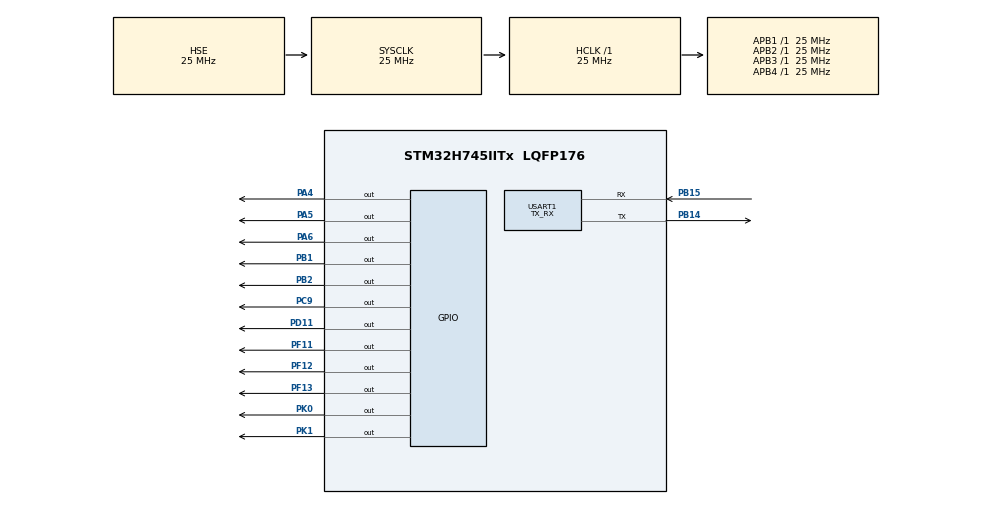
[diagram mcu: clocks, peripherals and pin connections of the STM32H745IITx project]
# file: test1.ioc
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CORTEX_M7.default_mode_Activation=1
CortexM4.IPs=CORTEX_M4\:I,FATFS_M4\:I,FREERTOS_M4\:I,IWDG2\:I,OPENAMP_M4\:I,PDM2PCM_M4\:I,PWR,RCC,RESMGR_UTILITY,SYS_M4\:I,USB_DEVICE_M4\:I,USB_HOST_M4\:I,VREFBUF,WWDG2\:I,GPIO,DMA,BDMA,MDMA,NVIC2\:I
CortexM7.IPs=CORTEX_M7\:I,FATFS_M7\:I,FREERTOS_M7\:I,IWDG1\:I,OPENAMP_M7\:I,PDM2PCM_M7\:I,PWR\:I,RCC\:I,RESMGR_UTILITY\:I,SYS\:I,USB_DEVICE_M7\:I,USB_HOST_M7\:I,VREFBUF\:I,WWDG1\:I,GPIO\:I,DMA\:I,BDMA\:I,MDMA\:I,NVIC1\:I,USART1\:I,TIM1\:I,TIM3\:I
CortexM7.Pins=PA4,PA5,PA6,PB1,PB2,PF11,PF12,PF13,PD11,PK0,PK1,PC9
Mcu.Family=STM32H7
Mcu.Name=STM32H745IITx
Mcu.Package=LQFP176
NVIC1.PriorityGroup=NVIC_PRIORITYGROUP_4
NVIC1.TIM1_UP_IRQn=true\:0\:0\:false\:false\:true\:true\:true\:true
NVIC1.TIM3_IRQn=true\:0\:0\:false\:false\:true\:true\:true\:true
NVIC1.USART1_IRQn=true\:0\:0\:false\:false\:true\:true\:true\:true
NVIC2.PriorityGroup=NVIC_PRIORITYGROUP_4
PA4.PinAttribute=CortexM7
PA4.Signal=GPIO_Output
PA5.PinAttribute=CortexM7
PA5.Signal=GPIO_Output
PA6.PinAttribute=CortexM7
PA6.Signal=GPIO_Output
PB1.PinAttribute=CortexM7
PB1.Signal=GPIO_Output
PB14.Mode=Asynchronous
PB14.PinAttribute=CortexM7
PB14.Signal=USART1_TX
PB15.Mode=Asynchronous
PB15.PinAttribute=CortexM7
PB15.Signal=USART1_RX
PB2.PinAttribute=CortexM7
PB2.Signal=GPIO_Output
PC9.PinAttribute=CortexM7
PC9.Signal=GPIO_Output
PD11.PinAttribute=CortexM7
PD11.Signal=GPIO_Output
PF11.PinAttribute=CortexM7
PF11.Signal=GPIO_Output
PF12.PinAttribute=CortexM7
PF12.Signal=GPIO_Output
PF13.PinAttribute=CortexM7
PF13.Signal=GPIO_Output
PH0-OSC_IN\ (PH0).Mode=HSE-External-Oscillator
PH0-OSC_IN\ (PH0).PinAttribute=Free
PH0-OSC_IN\ (PH0).Signal=RCC_OSC_IN
PH1-OSC_OUT\ (PH1).Mode=HSE-External-Oscillator
PH1-OSC_OUT\ (PH1).PinAttribute=Free
PH1-OSC_OUT\ (PH1).Signal=RCC_OSC_OUT
PK0.PinAttribute=CortexM7
PK0.Signal=GPIO_Output
PK1.PinAttribute=CortexM7
PK1.Signal=GPIO_Output
ProjectManager.HeapSize=M4-0x200,M7-0x200
ProjectManager.StackSize=M4-0x400,M7-0x400
ProjectManager.TargetToolchain=EWARM V8.50
RCC.ADCFreq_Value=50390625
RCC.APB1Freq_Value=25000000
RCC.APB2Freq_Value=25000000
RCC.APB3Freq_Value=25000000
RCC.APB4Freq_Value=25000000
RCC.CortexFreq_Value=25000000
RCC.HCLKFreq_Value=25000000
RCC.PLLSourceVirtual=RCC_PLLSOURCE_HSE
RCC.SYSCLKFreq_VALUE=25000000
RCC.SYSCLKSource=RCC_SYSCLKSOURCE_HSE
RCC.SupplySource=PWR_LDO_SUPPLY
RCC.USBFreq_Value=50390625
SYS.userName=SYS_M7
TIM1.Prescaler=4
TIM3.Period=99
TIM3.Prescaler=24
USART1.Mode=MODE_TX_RX
USART1.OneBitSampling=UART_ONE_BIT_SAMPLE_DISABLE
USART1.VirtualMode-Asynchronous=VM_ASYNC
VP_SYS_M4_VS_Systick.Mode=SysTick
VP_TIM1_VS_ClockSourceINT.Mode=Internal
VP_TIM1_VS_OPM.Mode=OPM_bit
VP_TIM3_VS_ClockSourceINT.Mode=Internal
board=custom

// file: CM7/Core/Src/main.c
/* USER CODE BEGIN Header */
/**
  ******************************************************************************
  * @file           : main.c
  * @brief          : Main program body
  ******************************************************************************
  * @attention
  *
  * Copyright (c) 2026 STMicroelectronics.
  * All rights reserved.
  *
  * This software is licensed under terms that can be found in the LICENSE file
  * in the root directory of this software component.
  * If no LICENSE file comes with this software, it is provided AS-IS.
  *
  ******************************************************************************
  */
/* USER CODE END Header */
#include "main.h"

/* USER CODE BEGIN Includes */
#include "Modbus_RTU_my.h"
/* USER CODE END Includes */

/* USER CODE BEGIN PD */

#define RECEIVE_TIMEOUT         8999 // 5000(4999 ARR) ticks at 25/25 MHz = 0,001 sec.
#define MODBUS_DEVICE_ID        0x01

/* DUAL_CORE_BOOT_SYNC_SEQUENCE: Define for dual core boot synchronization    */
/*                             demonstration code based on hardware semaphore */
/* This define is present in both CM7/CM4 projects                            */
/* To comment when developping/debugging on a single core                     */
#define DUAL_CORE_BOOT_SYNC_SEQUENCE

#if defined(DUAL_CORE_BOOT_SYNC_SEQUENCE)
#ifndef HSEM_ID_0
#define HSEM_ID_0 (0U) /* HW semaphore 0*/
#endif
#endif /* DUAL_CORE_BOOT_SYNC_SEQUENCE */

/* USER CODE END PD */

/* USER CODE BEGIN PM */
#define HAL_TIMEOUT_VALUE 0xFFFFFFFF
#define countof(a) (sizeof(a) / sizeof(*(a)))

volatile uint8_t ticks_timer;
/* USER CODE END PM */

TIM_HandleTypeDef htim1;
TIM_HandleTypeDef htim3;

UART_HandleTypeDef huart1;

/* USER CODE BEGIN PV */
ModbusRTU_Handle_t hmodbus1;

uint8_t new_uart_message = 0;

uint8_t test_response[16]  = {0x01, 0x03, 0x02, 0x00, 0x19, 0x79, 0x8E};
uint8_t rx_temp;
uint8_t uart_buffer[256];
uint16_t uart_index = 0;

ModbusRTU_Package_t received;

uint8_t enabled_leds[8] = {0,0,0,0,0,0,0,0};
uint8_t leds_mode[8]    = {0,0,0,0,0,0,0,0};

uint16_t brightness[8] = {100, 100, 100, 100, 100, 100, 100, 100};
uint16_t intervals[8]  = {1000,1000,1000,1000,1000,1000,1000,1000};

uint8_t pwm_counter = 0;
uint32_t blink_counter = 0;

uint8_t current_brightness = 100;

uint16_t LED_PIN[8] = {GPIO_PIN_4, GPIO_PIN_5, GPIO_PIN_6, GPIO_PIN_1, GPIO_PIN_2, GPIO_PIN_11, GPIO_PIN_12, GPIO_PIN_13};
GPIO_TypeDef* LED_PORT[8] = {GPIOA, GPIOA, GPIOA, GPIOB, GPIOB, GPIOF, GPIOF, GPIOF};
/* USER CODE END PV */

void SystemClock_Config(void);
static void MPU_Config(void);
static void MX_GPIO_Init(void);
static void MX_USART1_UART_Init(void);
static void MX_TIM1_Init(void);
static void MX_TIM3_Init(void);
/* USER CODE BEGIN PFP */
void Modbus_Init(void);
/* USER CODE END PFP */

/* USER CODE BEGIN 0 */
void HAL_UART_ErrorCallback(UART_HandleTypeDef *huart) {
    char msg[64];
    uint32_t err = huart->ErrorCode;

    if (huart->Instance == USART1) {
        if (err & HAL_UART_ERROR_ORE) {
            HAL_GPIO_WritePin(GPIOD, GPIO_PIN_11, GPIO_PIN_SET);
            HAL_UART_Transmit(huart, (uint8_t*)"Err: Overrun (ORE)\r\n", 20, 100);
            HAL_GPIO_WritePin(GPIOD, GPIO_PIN_11, GPIO_PIN_RESET);

            __HAL_UART_CLEAR_OREFLAG(huart);
        }
        if (err & HAL_UART_ERROR_NE) {
            HAL_GPIO_WritePin(GPIOD, GPIO_PIN_11, GPIO_PIN_SET);
            HAL_UART_Transmit(huart, (uint8_t*)"Err: Noise (NE)\r\n", 17, 100);
            HAL_GPIO_WritePin(GPIOD, GPIO_PIN_11, GPIO_PIN_RESET);

            __HAL_UART_CLEAR_NEFLAG(huart);
        }
        if (err & HAL_UART_ERROR_FE) {
            HAL_GPIO_WritePin(GPIOD, GPIO_PIN_11, GPIO_PIN_SET);
            HAL_UART_Transmit(huart, (uint8_t*)"Err: Framing (FE)\r\n", 19, 100);
            HAL_GPIO_WritePin(GPIOD, GPIO_PIN_11, GPIO_PIN_RESET);

            __HAL_UART_CLEAR_FEFLAG(huart);
        }
        if (err & HAL_UART_ERROR_PE) {
            HAL_GPIO_WritePin(GPIOD, GPIO_PIN_11, GPIO_PIN_SET);
            HAL_UART_Transmit(huart, (uint8_t*)"Err: Parity (PE)\r\n", 18, 100);
            HAL_GPIO_WritePin(GPIOD, GPIO_PIN_11, GPIO_PIN_RESET);

            __HAL_UART_CLEAR_PEFLAG(huart);
        }
    }
}

void UartTimer_Prolong() {

    __HAL_TIM_SET_AUTORELOAD(&htim1, RECEIVE_TIMEOUT);

    __HAL_TIM_SET_COUNTER(&htim1, 0);

    __HAL_TIM_CLEAR_IT(&htim1, TIM_IT_UPDATE);

    SET_BIT(htim1.Instance->DIER, TIM_DIER_UIE);

    SET_BIT(htim1.Instance->CR1, TIM_CR1_CEN);
}

void Uart_Read_byte() {
  // Should I put uart byte recieved interruption code here?
}

void HAL_UART_RxCpltCallback(UART_HandleTypeDef *huart) {
    if (huart->Instance == USART1) {

        UartTimer_Prolong();

        uart_buffer[uart_index++] = rx_temp;

        HAL_UART_Receive_IT(huart, &rx_temp, 1);

        HAL_GPIO_WritePin(GPIOK, GPIO_PIN_1, GPIO_PIN_SET);
    }
}

/**
  * @brief  Is called every cycle in main while(1)
  * @retval none
  */
void On_Transmittion_End() {
  if (new_uart_message == 0) return;
  new_uart_message = 0;

  if (process_Request(&hmodbus1) == PROCESS_OK) {

        uint8_t out_len;
        uint8_t* output_buffer = get_Output(&hmodbus1, &out_len);

        HAL_GPIO_WritePin(GPIOD, GPIO_PIN_11, GPIO_PIN_SET);

      for(volatile int i=0; i<500; i++);
      //HAL_UART_Transmit(&huart1, uart_buffer, uart_index, 100); // debug echo in uart
      HAL_UART_Transmit(&huart1, output_buffer, out_len, 100);
      //HAL_UART_Transmit(&huart1, test_response, 7, 100);

      while (__HAL_UART_GET_FLAG(&huart1, UART_FLAG_TC) == RESET);

      HAL_GPIO_WritePin(GPIOD, GPIO_PIN_11, GPIO_PIN_RESET);

      } else {
        // ?
      }

      uart_index = 0;

      HAL_GPIO_WritePin(GPIOK, GPIO_PIN_1, GPIO_PIN_RESET);
      HAL_GPIO_WritePin(GPIOK, GPIO_PIN_0, GPIO_PIN_SET);
}

/**
  * @brief  Is called every cycle in main while(1)
  * @retval none
  */
void LEDs_Update() {

      for (int i = 0; i < 8; i++) {
        if (enabled_leds[i] == 0) {
          LED_PORT[i]->BSRR = (uint32_t)LED_PIN[i] << 16;
          continue;
        }

        if (leds_mode[i] == 1) {
          if (intervals[i] > ((blink_counter/10) % (2 * intervals[i]))) {
            LED_PORT[i]->BSRR = (uint32_t)LED_PIN[i] << 16;
            continue;
          }
        }

        if (leds_mode[i] == 2) {
          current_brightness = ((blink_counter/10) % intervals[i]) * 200 / intervals[i];
          if (current_brightness > 100) current_brightness = 200 - current_brightness;
        }
        else {
          current_brightness = brightness[i];
        }

        if (pwm_counter < current_brightness) {
          LED_PORT[i]->BSRR = LED_PIN[i];
        } else {
          LED_PORT[i]->BSRR = (uint32_t)LED_PIN[i] << 16;
        }
      }
}

void HAL_TIM_PeriodElapsedCallback(TIM_HandleTypeDef *htim) {
    if (htim->Instance == TIM1) {
      load_uart_message(&hmodbus1, uart_buffer, uart_index);
      new_uart_message = 1;
    }

    if (htim->Instance == TIM3) {
      pwm_counter++;
      blink_counter++;
      if (pwm_counter > 100) pwm_counter = 0;
    }
}

uint8_t registers_Mapping_Read(uint16_t addr, uint16_t* val, uint8_t mode) {
  switch(mode) {
  case READ_MODE_COILS: // 0x01

    // Example of switch-case mapping:
    /*
    switch(addr) {
    case 0x0000:
      *val = HAL_GPIO_ReadPin(GPIOA, GPIO_PIN_4);
      return 0;
    case 0x0001:
      *val = HAL_GPIO_ReadPin(GPIOA, GPIO_PIN_5);
      return 0;
    case 0x0002:
      *val = HAL_GPIO_ReadPin(GPIOA, GPIO_PIN_6);
      return 0;
    case 0x0003:
      *val = HAL_GPIO_ReadPin(GPIOB, GPIO_PIN_1);
      return 0;
    case 0x0004:
      *val = HAL_GPIO_ReadPin(GPIOB, GPIO_PIN_2);
      return 0;
    case 0x0005:
      *val = HAL_GPIO_ReadPin(GPIOF, GPIO_PIN_11);
      return 0;
    case 0x0006:
      *val = HAL_GPIO_ReadPin(GPIOF, GPIO_PIN_12);
      return 0;
    case 0x0007:
      *val = HAL_GPIO_ReadPin(GPIOF, GPIO_PIN_13);
      return 0;
    */

      // Array mapping:
      if (addr >= 0x0000 && addr <= 0x0007) {
        *val = enabled_leds[addr];
        return 0;
      }
      return 2;

  case READ_MODE_DISCRETE_INP: // 0x02
    switch(addr) {
    case 0x0000:
      *val = GPIO_PIN_SET; // Testing input
      return 0;
    default:
      return 2;
    }

  case READ_MODE_HOLDING_REGS: // 0x03
    if (addr >= 0x0000 && addr <= 0x0007) {
        *val = brightness[addr];
        return 0;
      }
      if (addr >= 0x0010 && addr <= 0x0017) {
        *val = intervals[addr-16];
        return 0;
      }
      if (addr >= 0x0020 && addr <= 0x0027) {
        *val = leds_mode[addr-32];
        return 0;
      }
      return 2;

  case READ_MODE_INPUT_REGS: // 0x04
    switch(addr) {
    case 0x0000:
      *val = 12345; // Also testing
      return 0;
    case 0x0001:
      *val = 54321;
      return 0;
    default: return 2;
    }
  }
  return 5;
}

uint8_t registers_Mapping_Write(uint16_t addr, uint16_t val, uint8_t mode) {
  switch(mode) {
  case WRITE_MODE_SINGLE_COIL: // 0x05

    /*
    if (val != 0xFF00 && val != 0x0000) return 3;
    switch(addr) {
    case 0x0000:
      HAL_GPIO_WritePin(GPIOA, GPIO_PIN_4, val == 0xFF00 ? GPIO_PIN_SET : GPIO_PIN_RESET);
      return 0;
    case 0x0001:
      HAL_GPIO_WritePin(GPIOA, GPIO_PIN_5, val == 0xFF00 ? GPIO_PIN_SET : GPIO_PIN_RESET);
      return 0;
    case 0x0002:
      HAL_GPIO_WritePin(GPIOA, GPIO_PIN_6, val == 0xFF00 ? GPIO_PIN_SET : GPIO_PIN_RESET);
      return 0;
    case 0x0003:
      HAL_GPIO_WritePin(GPIOB, GPIO_PIN_1, val == 0xFF00 ? GPIO_PIN_SET : GPIO_PIN_RESET);
      return 0;
    case 0x0004:
      HAL_GPIO_WritePin(GPIOB, GPIO_PIN_2, val == 0xFF00 ? GPIO_PIN_SET : GPIO_PIN_RESET);
      return 0;
    case 0x0005:
      HAL_GPIO_WritePin(GPIOF, GPIO_PIN_11, val == 0xFF00 ? GPIO_PIN_SET : GPIO_PIN_RESET);
      return 0;
    case 0x0006:
      HAL_GPIO_WritePin(GPIOF, GPIO_PIN_12, val == 0xFF00 ? GPIO_PIN_SET : GPIO_PIN_RESET);
      return 0;
    case 0x0007:
      HAL_GPIO_WritePin(GPIOF, GPIO_PIN_13, val == 0xFF00 ? GPIO_PIN_SET : GPIO_PIN_RESET);
      return 0;
    default: return 2;
  }
  */
    if (addr >= 0x0000 && addr <= 0x0007) {
        enabled_leds[addr] = val == 0xFF00;
        return 0;
      }
      return 2;

  case WRITE_MODE_SINGLE_REG: // 0x06
    if (addr >= 0x0000 && addr <= 0x0007) {
        if (val > 100) return 3;
        brightness[addr] = val;
        return 0;
      }
      if (addr >= 0x0010 && addr <= 0x0017) {
        if (val > 5000) return 3;
        intervals[addr-16] = val;
        return 0;
      }
      if (addr >= 0x0020 && addr <= 0x0027) {
        leds_mode[addr-32] = val;
        return 0;
      }
      return 2;

  case WRITE_MODE_MULT_COILS: // 0x0f
    // Actually, I don`t need those two. Multiple or single write is processed in
    // library, in case of multiple write it`ll just call single write multiple times.
    break;

  case WRITE_MODE_MULT_REGS: // 0x10

    break;
  }

  return 5;
}

/* USER CODE END 0 */

int main(void)
{

/* USER CODE BEGIN Boot_Mode_Sequence_0 */
#if defined(DUAL_CORE_BOOT_SYNC_SEQUENCE)
  int32_t timeout;
#endif /* DUAL_CORE_BOOT_SYNC_SEQUENCE */
/* USER CODE END Boot_Mode_Sequence_0 */

  /* MPU Configuration--------------------------------------------------------*/
  MPU_Config();

/* USER CODE BEGIN Boot_Mode_Sequence_1 */
#if defined(DUAL_CORE_BOOT_SYNC_SEQUENCE)
  /* Wait until CPU2 boots and enters in stop mode or timeout*/
  timeout = 0xFFFF;
  //while((__HAL_RCC_GET_FLAG(RCC_FLAG_D2CKRDY) != RESET) && (timeout-- > 0));
  //if ( timeout < 0 )
  //{
  //Error_Handler();
  //}
#endif /* DUAL_CORE_BOOT_SYNC_SEQUENCE */
/* USER CODE END Boot_Mode_Sequence_1 */
  /* MCU Configuration--------------------------------------------------------*/

  /* Reset of all peripherals, Initializes the Flash interface and the Systick. */
  HAL_Init();

  /* USER CODE BEGIN Init */
  Modbus_Init();
  /* USER CODE END Init */

  /* Configure the system clock */
  SystemClock_Config();
/* USER CODE BEGIN Boot_Mode_Sequence_2 */
#if defined(DUAL_CORE_BOOT_SYNC_SEQUENCE)
/* When system initialization is finished, Cortex-M7 will release Cortex-M4 by means of
HSEM notification */
/*HW semaphore Clock enable*/
__HAL_RCC_HSEM_CLK_ENABLE();
/*Take HSEM */
HAL_HSEM_FastTake(HSEM_ID_0);
/*Release HSEM in order to notify the CPU2(CM4)*/
HAL_HSEM_Release(HSEM_ID_0,0);
/* wait until CPU2 wakes up from stop mode */
timeout = 0xFFFF;
//while((__HAL_RCC_GET_FLAG(RCC_FLAG_D2CKRDY) == RESET) && (timeout-- > 0));
//if ( timeout < 0 )
//{
//Error_Handler();
//}
#endif /* DUAL_CORE_BOOT_SYNC_SEQUENCE */
/* USER CODE END Boot_Mode_Sequence_2 */

  /* USER CODE BEGIN SysInit */
  HAL_GPIO_WritePin(GPIOK, GPIO_PIN_0, GPIO_PIN_RESET);
  HAL_GPIO_WritePin(GPIOK, GPIO_PIN_1, GPIO_PIN_RESET);
  /* USER CODE END SysInit */

  /* Initialize all configured peripherals */
  MX_GPIO_Init();
  MX_USART1_UART_Init();
  MX_TIM1_Init();
  MX_TIM3_Init();
  /* USER CODE BEGIN 2 */
  HAL_TIM_Base_Start_IT(&htim3);

  HAL_GPIO_WritePin(GPIOD, GPIO_PIN_11, GPIO_PIN_RESET);
  HAL_GPIO_WritePin(GPIOA, GPIO_PIN_4, GPIO_PIN_SET);
  HAL_UART_Receive_IT(&huart1, &rx_temp, 1);
  /* USER CODE END 2 */

  /* Infinite loop */
  /* USER CODE BEGIN WHILE */
  while (1)
  {
    HAL_GPIO_TogglePin(GPIOC, GPIO_PIN_9);
    On_Transmittion_End();
    LEDs_Update();

    /* USER CODE END WHILE */

  }
}

void SystemClock_Config(void)
{
  RCC_OscInitTypeDef RCC_OscInitStruct = {0};
  RCC_ClkInitTypeDef RCC_ClkInitStruct = {0};

  /** Supply configuration update enable
  */
  HAL_PWREx_ConfigSupply(PWR_LDO_SUPPLY);

  /** Configure the main internal regulator output voltage
  */
  __HAL_PWR_VOLTAGESCALING_CONFIG(PWR_REGULATOR_VOLTAGE_SCALE3);

  while(!__HAL_PWR_GET_FLAG(PWR_FLAG_VOSRDY)) {}

  /** Initializes the RCC Oscillators according to the specified parameters
  * in the RCC_OscInitTypeDef structure.
  */
  RCC_OscInitStruct.OscillatorType = RCC_OSCILLATORTYPE_HSE;
  RCC_OscInitStruct.HSEState = RCC_HSE_ON;
  RCC_OscInitStruct.PLL.PLLState = RCC_PLL_NONE;
  if (HAL_RCC_OscConfig(&RCC_OscInitStruct) != HAL_OK)
  {
    Error_Handler();
  }

  /** Initializes the CPU, AHB and APB buses clocks
  */
  RCC_ClkInitStruct.ClockType = RCC_CLOCKTYPE_HCLK|RCC_CLOCKTYPE_SYSCLK
                              |RCC_CLOCKTYPE_PCLK1|RCC_CLOCKTYPE_PCLK2
                              |RCC_CLOCKTYPE_D3PCLK1|RCC_CLOCKTYPE_D1PCLK1;
  RCC_ClkInitStruct.SYSCLKSource = RCC_SYSCLKSOURCE_HSE;
  RCC_ClkInitStruct.SYSCLKDivider = RCC_SYSCLK_DIV1;
  RCC_ClkInitStruct.AHBCLKDivider = RCC_HCLK_DIV1;
  RCC_ClkInitStruct.APB3CLKDivider = RCC_APB3_DIV1;
  RCC_ClkInitStruct.APB1CLKDivider = RCC_APB1_DIV1;
  RCC_ClkInitStruct.APB2CLKDivider = RCC_APB2_DIV1;
  RCC_ClkInitStruct.APB4CLKDivider = RCC_APB4_DIV1;

  if (HAL_RCC_ClockConfig(&RCC_ClkInitStruct, FLASH_LATENCY_0) != HAL_OK)
  {
    Error_Handler();
  }
}

static void MX_TIM1_Init(void)
{

  TIM_ClockConfigTypeDef sClockSourceConfig = {0};
  TIM_MasterConfigTypeDef sMasterConfig = {0};

  htim1.Instance = TIM1;
  htim1.Init.Prescaler = 4;
  htim1.Init.CounterMode = TIM_COUNTERMODE_UP;
  htim1.Init.Period = 65535;
  htim1.Init.ClockDivision = TIM_CLOCKDIVISION_DIV1;
  htim1.Init.RepetitionCounter = 0;
  htim1.Init.AutoReloadPreload = TIM_AUTORELOAD_PRELOAD_DISABLE;
  if (HAL_TIM_Base_Init(&htim1) != HAL_OK)
  {
    Error_Handler();
  }
  sClockSourceConfig.ClockSource = TIM_CLOCKSOURCE_INTERNAL;
  if (HAL_TIM_ConfigClockSource(&htim1, &sClockSourceConfig) != HAL_OK)
  {
    Error_Handler();
  }
  if (HAL_TIM_OnePulse_Init(&htim1, TIM_OPMODE_SINGLE) != HAL_OK)
  {
    Error_Handler();
  }
  sMasterConfig.MasterOutputTrigger = TIM_TRGO_RESET;
  sMasterConfig.MasterOutputTrigger2 = TIM_TRGO2_RESET;
  sMasterConfig.MasterSlaveMode = TIM_MASTERSLAVEMODE_DISABLE;
  if (HAL_TIMEx_MasterConfigSynchronization(&htim1, &sMasterConfig) != HAL_OK)
  {
    Error_Handler();
  }

}

static void MX_TIM3_Init(void)
{

  TIM_ClockConfigTypeDef sClockSourceConfig = {0};
  TIM_MasterConfigTypeDef sMasterConfig = {0};

  htim3.Instance = TIM3;
  htim3.Init.Prescaler = 24;
  htim3.Init.CounterMode = TIM_COUNTERMODE_UP;
  htim3.Init.Period = 99;
  htim3.Init.ClockDivision = TIM_CLOCKDIVISION_DIV1;
  htim3.Init.AutoReloadPreload = TIM_AUTORELOAD_PRELOAD_DISABLE;
  if (HAL_TIM_Base_Init(&htim3) != HAL_OK)
  {
    Error_Handler();
  }
  sClockSourceConfig.ClockSource = TIM_CLOCKSOURCE_INTERNAL;
  if (HAL_TIM_ConfigClockSource(&htim3, &sClockSourceConfig) != HAL_OK)
  {
    Error_Handler();
  }
  sMasterConfig.MasterOutputTrigger = TIM_TRGO_RESET;
  sMasterConfig.MasterSlaveMode = TIM_MASTERSLAVEMODE_DISABLE;
  if (HAL_TIMEx_MasterConfigSynchronization(&htim3, &sMasterConfig) != HAL_OK)
  {
    Error_Handler();
  }

}

static void MX_USART1_UART_Init(void)
{

  huart1.Instance = USART1;
  huart1.Init.BaudRate = 115200;
  huart1.Init.WordLength = UART_WORDLENGTH_8B;
  huart1.Init.StopBits = UART_STOPBITS_1;
  huart1.Init.Parity = UART_PARITY_NONE;
  huart1.Init.Mode = UART_MODE_TX_RX;
  huart1.Init.HwFlowCtl = UART_HWCONTROL_NONE;
  huart1.Init.OverSampling = UART_OVERSAMPLING_16;
  huart1.Init.OneBitSampling = UART_ONE_BIT_SAMPLE_DISABLE;
  huart1.Init.ClockPrescaler = UART_PRESCALER_DIV1;
  huart1.AdvancedInit.AdvFeatureInit = UART_ADVFEATURE_NO_INIT;
  if (HAL_UART_Init(&huart1) != HAL_OK)
  {
    Error_Handler();
  }
  if (HAL_UARTEx_SetTxFifoThreshold(&huart1, UART_TXFIFO_THRESHOLD_1_8) != HAL_OK)
  {
    Error_Handler();
  }
  if (HAL_UARTEx_SetRxFifoThreshold(&huart1, UART_RXFIFO_THRESHOLD_1_8) != HAL_OK)
  {
    Error_Handler();
  }
  if (HAL_UARTEx_DisableFifoMode(&huart1) != HAL_OK)
  {
    Error_Handler();
  }

}

static void MX_GPIO_Init(void)
{
  GPIO_InitTypeDef GPIO_InitStruct = {0};

  /* GPIO Ports Clock Enable */
  __HAL_RCC_GPIOA_CLK_ENABLE();
  __HAL_RCC_GPIOB_CLK_ENABLE();
  __HAL_RCC_GPIOF_CLK_ENABLE();
  __HAL_RCC_GPIOD_CLK_ENABLE();
  __HAL_RCC_GPIOK_CLK_ENABLE();
  __HAL_RCC_GPIOC_CLK_ENABLE();

  /*Configure GPIO pin Output Level */
  HAL_GPIO_WritePin(GPIOA, GPIO_PIN_4|GPIO_PIN_5|GPIO_PIN_6, GPIO_PIN_RESET);

  /*Configure GPIO pin Output Level */
  HAL_GPIO_WritePin(GPIOB, GPIO_PIN_1|GPIO_PIN_2, GPIO_PIN_RESET);

  /*Configure GPIO pin Output Level */
  HAL_GPIO_WritePin(GPIOF, GPIO_PIN_11|GPIO_PIN_12|GPIO_PIN_13, GPIO_PIN_RESET);

  /*Configure GPIO pin Output Level */
  HAL_GPIO_WritePin(GPIOD, GPIO_PIN_11, GPIO_PIN_RESET);

  /*Configure GPIO pin Output Level */
  HAL_GPIO_WritePin(GPIOK, GPIO_PIN_0|GPIO_PIN_1, GPIO_PIN_RESET);

  /*Configure GPIO pin Output Level */
  HAL_GPIO_WritePin(GPIOC, GPIO_PIN_9, GPIO_PIN_RESET);

  /*Configure GPIO pins : PA4 PA5 PA6 */
  GPIO_InitStruct.Pin = GPIO_PIN_4|GPIO_PIN_5|GPIO_PIN_6;
  GPIO_InitStruct.Mode = GPIO_MODE_OUTPUT_PP;
  GPIO_InitStruct.Pull = GPIO_NOPULL;
  GPIO_InitStruct.Speed = GPIO_SPEED_FREQ_LOW;
  HAL_GPIO_Init(GPIOA, &GPIO_InitStruct);

  /*Configure GPIO pins : PB1 PB2 */
  GPIO_InitStruct.Pin = GPIO_PIN_1|GPIO_PIN_2;
  GPIO_InitStruct.Mode = GPIO_MODE_OUTPUT_PP;
  GPIO_InitStruct.Pull = GPIO_NOPULL;
  GPIO_InitStruct.Speed = GPIO_SPEED_FREQ_LOW;
  HAL_GPIO_Init(GPIOB, &GPIO_InitStruct);

  /*Configure GPIO pins : PF11 PF12 PF13 */
  GPIO_InitStruct.Pin = GPIO_PIN_11|GPIO_PIN_12|GPIO_PIN_13;
  GPIO_InitStruct.Mode = GPIO_MODE_OUTPUT_PP;
  GPIO_InitStruct.Pull = GPIO_NOPULL;
  GPIO_InitStruct.Speed = GPIO_SPEED_FREQ_LOW;
  HAL_GPIO_Init(GPIOF, &GPIO_InitStruct);

  /*Configure GPIO pin : PD11 */
  GPIO_InitStruct.Pin = GPIO_PIN_11;
  GPIO_InitStruct.Mode = GPIO_MODE_OUTPUT_PP;
  GPIO_InitStruct.Pull = GPIO_NOPULL;
  GPIO_InitStruct.Speed = GPIO_SPEED_FREQ_LOW;
  HAL_GPIO_Init(GPIOD, &GPIO_InitStruct);

  /*Configure GPIO pins : PK0 PK1 */
  GPIO_InitStruct.Pin = GPIO_PIN_0|GPIO_PIN_1;
  GPIO_InitStruct.Mode = GPIO_MODE_OUTPUT_PP;
  GPIO_InitStruct.Pull = GPIO_NOPULL;
  GPIO_InitStruct.Speed = GPIO_SPEED_FREQ_LOW;
  HAL_GPIO_Init(GPIOK, &GPIO_InitStruct);

  /*Configure GPIO pin : PC9 */
  GPIO_InitStruct.Pin = GPIO_PIN_9;
  GPIO_InitStruct.Mode = GPIO_MODE_OUTPUT_PP;
  GPIO_InitStruct.Pull = GPIO_NOPULL;
  GPIO_InitStruct.Speed = GPIO_SPEED_FREQ_LOW;
  HAL_GPIO_Init(GPIOC, &GPIO_InitStruct);

}

/* USER CODE BEGIN 4 */
void Modbus_Init(void)
{
  init_ModbusRTU_Handle(&hmodbus1, MODBUS_DEVICE_ID);
  set_Read_Handler(&hmodbus1, &registers_Mapping_Read);
  set_Write_Handler(&hmodbus1, &registers_Mapping_Write);
}
/* USER CODE END 4 */

 /* MPU Configuration */

void MPU_Config(void)
{
  MPU_Region_InitTypeDef MPU_InitStruct = {0};

  /* Disables the MPU */
  HAL_MPU_Disable();

  /** Initializes and configures the Region and the memory to be protected
  */
  MPU_InitStruct.Enable = MPU_REGION_ENABLE;
  MPU_InitStruct.Number = MPU_REGION_NUMBER0;
  MPU_InitStruct.BaseAddress = 0x0;
  MPU_InitStruct.Size = MPU_REGION_SIZE_4GB;
  MPU_InitStruct.SubRegionDisable = 0x87;
  MPU_InitStruct.TypeExtField = MPU_TEX_LEVEL0;
  MPU_InitStruct.AccessPermission = MPU_REGION_NO_ACCESS;
  MPU_InitStruct.DisableExec = MPU_INSTRUCTION_ACCESS_DISABLE;
  MPU_InitStruct.IsShareable = MPU_ACCESS_SHAREABLE;
  MPU_InitStruct.IsCacheable = MPU_ACCESS_NOT_CACHEABLE;
  MPU_InitStruct.IsBufferable = MPU_ACCESS_NOT_BUFFERABLE;

  HAL_MPU_ConfigRegion(&MPU_InitStruct);
  /* Enables the MPU */
  HAL_MPU_Enable(MPU_PRIVILEGED_DEFAULT);

}

void Error_Handler(void)
{
  __disable_irq();
  while (1)
  {
  }
}
